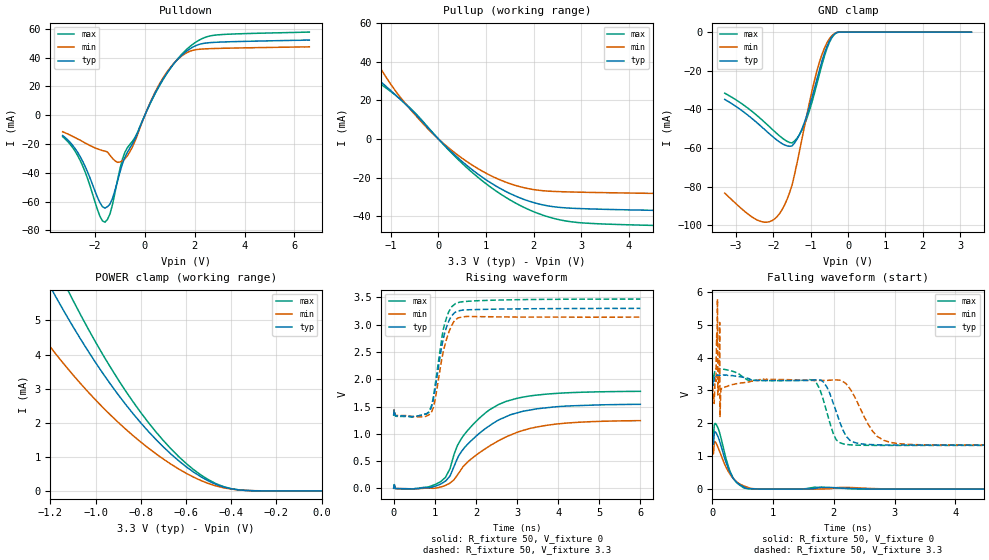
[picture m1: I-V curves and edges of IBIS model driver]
| IBIS file io_buf_20ps.ibs created by PYS2IBIS3
| Missouri S&T EMC Lab
[IBIS Ver] 5.1
[File Name] io_buf_20ps.ibs
[File Rev] 0.1
[Date] December 6, 2025
[Source] Netlist generated by Grok
[Notes] testing the exe by Simon
[Disclaimer] This buffer is not a real buffer. It is a imaginay buffer. What
 is a imaginay buffer? An imagnary buffer is a buffer that is...
[Copyright] Missouri S&T EMC Lab
[Component] MCM Driver 1
[Manufacturer] MegaFLOPS Inc.
[Package]
| variable   typ   min   max
R_pkg 0 NA NA
L_pkg 0H NA NA
C_pkg 0F NA NA
[Pin]  signal_name   model_name   R_pin   L_pin   C_pin
vss   vss   GND
vdd   vdd   POWER
| oe oe dummy
| in in dummy
out   out   driver
| End of Component
| Models and submodels in the file (1): driver (I/O)
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[Model] driver
Model_type I/O
Polarity Non-Inverting
Enable Active-High
Vinl  = 0.8V
Vinh  = 2V
C_comp 1.2000pF 1.0000pF 1.4000pF
[Temperature Range] 27.0000 100.0000 0.0000
[Voltage Range] 3.3000V 3.0000V 3.6000V
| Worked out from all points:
|   slope of the pulldown table from 0 to 0.495 V, typ, clamps not added: 27.4 ohm
|   slope of the pullup table from 0 to 0.495 V, typ, clamps not added: 42.7 ohm
|   GND clamp passes 1 mA (typ) near -0.36 V on its own axis
|   POWER clamp passes 1 mA (typ) near -0.65 V on its own axis
|   rising waveform, R_fixture 50, V_fixture 0: 20-80 % time 1.09ns typ, 1.34ns min, 932ps max; typ from 0 V to 1.54 V
|   rising waveform, R_fixture 50, V_fixture 3.3: 20-80 % time 274ps typ, 277ps min, 269ps max; typ from 1.34 V to 3.3 V
|   falling waveform, R_fixture 50, V_fixture 0: 20-80 % time 195ps typ, 231ps min, 179ps max; typ from 1.54 V to 0 V
|   falling waveform, R_fixture 50, V_fixture 3.3: 20-80 % time 234ps typ, 316ps min, 211ps max; typ from 3.3 V to 1.34 V
[Pulldown]
| Voltage   I(typ)   I(min)   I(max)
-3.3V     -14.11mA   -11.49mA   -14.92mA
-2.6V     -28.62mA   -17.33mA   -31.26mA
-1.8V     -60.89mA   -24.01mA   -70.36mA
-1.6V     -64.58mA   -24.99mA   -74.37mA
-1.3V     -57.87mA   -29.98mA   -62.22mA
-1V       -39.62mA   -32.58mA   -37.38mA
-800mV    -29.26mA   -30.26mA   -25.73mA
-400mV    -16.61mA   -18.23mA   -15.56mA
600mV     21.34mA    22.16mA    20.91mA
1.7V      44.86mA    43.6mA     46.12mA
2.8V      50.65mA    46.37mA    55.62mA
6.6V      52.2mA     47.56mA    57.78mA
[Pullup]
| Voltage   I(typ)   I(min)   I(max)
-3.3V     52.9mA     288mA      32.03mA
-2.9V     57.26mA    200.3mA    40.86mA
-2.5V     55.97mA    137.1mA    43.93mA
-2.2V     50.87mA    101.5mA    42.91mA
-1.7V     40.21mA    61.42mA    36.21mA
-1V       25.06mA    28.32mA    24.59mA
-200mV    5.278mA    4.74mA     5.561mA
600mV     -13.78mA   -11.72mA   -14.92mA
1.5V      -28.2mA    -23.1mA    -31.5mA
2.2V      -34.15mA   -26.79mA   -39.49mA
2.9V      -35.95mA   -27.49mA   -43.18mA
6.6V      -37.71mA   -28.71mA   -45.68mA
[GND Clamp]
| Voltage   I(typ)   I(min)   I(max)
-3.3V     -34.82mA   -83.32mA   -31.62mA
-2.367V   -48.08mA   -97.77mA   -44.32mA
-2.1V     -52.69mA   -98.1mA    -49.02mA
-1.833V   -56.87mA   -93.93mA   -53.7mA
-1.633V   -58.86mA   -86.63mA   -56.5mA
-1.5V     -58.92mA   -79.34mA   -57.37mA
-1.233V   -50.13mA   -55.35mA   -50.74mA
-1.033V   -38.66mA   -36.46mA   -40.67mA
-766.7mV  -19.68mA   -15.62mA   -21.83mA
-566.7mV  -7.562mA   -5.625mA   -8.589mA
-366.7mV  -1.04mA    -747.4uA   -1.186mA
3.3V      806.1pA    7.276uA    187.3pA
[POWER Clamp]
| Voltage   I(typ)   I(min)   I(max)
-3.3V     69.1mA     63.7mA     73.07mA
-1.367V   8.162mA    5.773mA    9.455mA
-1.2V     5.986mA    4.223mA    6.947mA
-1.167V   5.586mA    3.941mA    6.483mA
-1.133V   5.198mA    3.669mA    6.033mA
-1.1V     4.823mA    3.406mA    5.596mA
-966.7mV  3.44mA     2.442mA    3.986mA
-833.3mV  2.26mA     1.618mA    2.607mA
-700mV    1.29mA     934.1uA    1.477mA
-566.7mV  553.4uA    405uA      627uA
-400mV    62.27uA    53.24uA    65.79uA
0V        806.1pA    6.115nA    316.9pA
[Ramp]
| variable   typ   min   max
dV/dt_r 0.9240/1.089n  0.7446/1.34n 1.0668/0.9317n
dV/dt_f 1.1772/0.2349n 1.0914/0.3153n 1.2714/0.2052n
R_load = 50
[Rising Waveform]
R_fixture = 50
V_fixture = 0
|time   V(typ)   V(min)   V(max)
0s        7.302nV    59.67nV    2.904nV
810.8ps   12.6mV     2.263mV    18.43mV
1.147ns   78.12mV    23.47mV    123.6mV
1.369ns   223.1mV    96.88mV    358.1mV
1.544ns   536mV      235.6mV    772.9mV
1.736ns   757.8mV    433.8mV    1.004V
2.186ns   1.07V      704.6mV    1.355V
2.715ns   1.308V     936.6mV    1.589V
3.898ns   1.492V     1.174V     1.737V
6ns       1.54V      1.241V     1.778V
[Rising Waveform]
R_fixture = 50
V_fixture = 3.3
|time   V(typ)   V(min)   V(max)
0s        1.338V     1.342V     1.329V
12ps      1.438V     1.439V     1.429V
54.1ps    1.331V     1.336V     1.321V
444.4ps   1.315V     1.317V     1.304V
870.9ps   1.411V     1.355V     1.422V
997ps     1.762V     1.583V     1.828V
1.225ns   2.804V     2.568V     2.972V
1.339ns   3.068V     2.863V     3.237V
1.502ns   3.23V      3.091V     3.388V
6ns       3.3V       3.14V      3.471V
[Falling Waveform]
R_fixture = 50
V_fixture = 0
|time   V(typ)   V(min)   V(max)
0s        1.545V     1.247V     1.783V
18ps      1.365V     1.076V     1.601V
36ps      1.729V     1.434V     1.978V
66.1ps    1.698V     1.383V     1.96V
114.1ps   1.489V     1.172V     1.751V
216.2ps   861.7mV    700.4mV    984.9mV
324.3ps   384.8mV    367.6mV    401.4mV
414.4ps   182.2mV    201.8mV    173.3mV
552.6ps   31.72mV    76.63mV    21.14mV
6ns       1.683uV    -1.706uV   2.35uV
[Falling Waveform]
R_fixture = 50
V_fixture = 3.3
|time   V(typ)   V(min)   V(max)
0s        3.3V       3.139V     3.472V
60.1ps    3.451V     3.271V     3.66V
84.1ps    3.454V     5.779V     3.662V
90.1ps    3.466V     2.862V     3.659V
120.1ps   3.471V     5.069V     3.659V
126.1ps   3.465V     2.188V     3.656V
1.682ns   3.321V     3.304V     3.297V
2.156ns   1.774V     3.264V     1.376V
2.919ns   1.341V     1.427V     1.329V
6ns       1.338V     1.342V     1.329V
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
